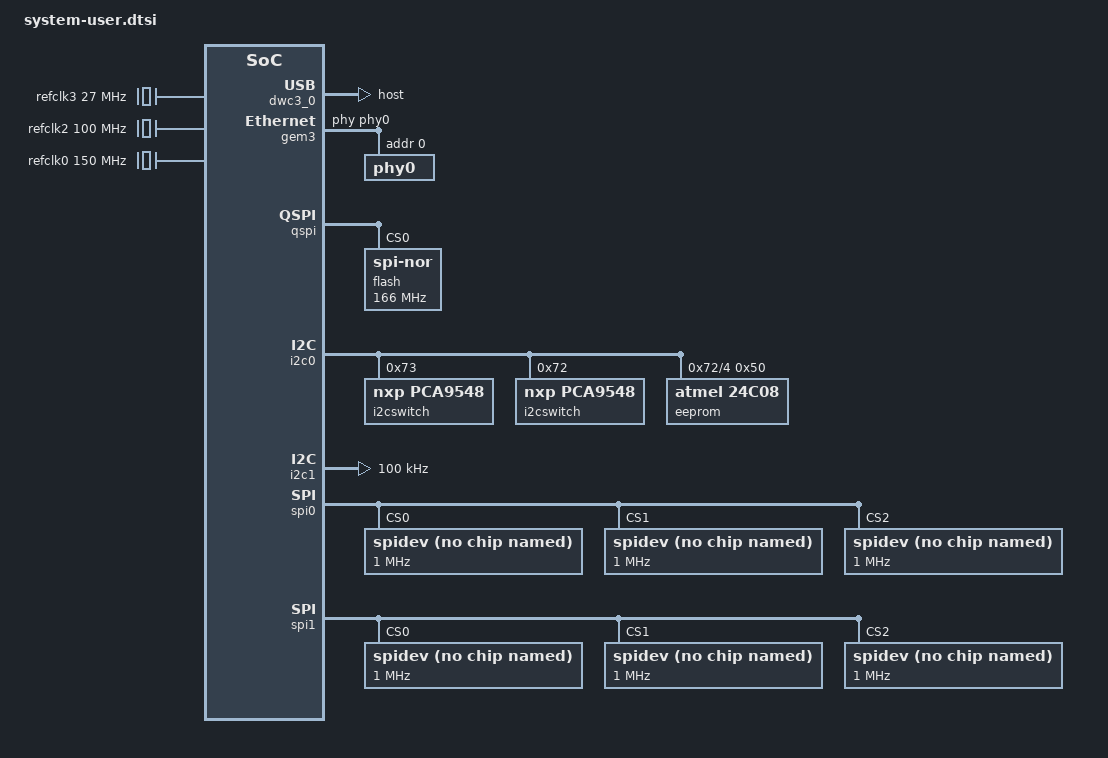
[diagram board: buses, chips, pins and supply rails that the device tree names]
/include/ "system-conf.dtsi"
/include/ "loki-info.dtsi"

/ {
  refclk3:psgtr_dp_clock {
          compatible = "fixed-clock";
          #clock-cells = <0x00>;
          clock-frequency = <27000000>;
  };

  refclk2:psgtr_pcie_usb_clock {
          compatible = "fixed-clock";
          #clock-cells = <0x00>;
          clock-frequency = <100000000>;
  };

  //refclk1:psgtr_unused_clock {
  //        compatible = "fixed-clock";
  //        #clock-cells = <0x00>;
  //        clock-frequency = <100000000>;
  //};

  refclk0:psgtr_sata_clock {
          compatible = "fixed-clock";
          #clock-cells = <0x00>;
          clock-frequency = <150000000>;
  };
};

&psgtr {
  clocks = <&refclk0 &refclk2 &refclk3>;
  /* ref clk instances used per lane */
  clock-names = "ref0\0ref2\0ref3";
};


/* SD */

&sdhci1 {
	// disable-wp;
	no-1-8-v;
    broken-cd;

};


/* USB  */


&dwc3_0 {
    //status = "okay";
    dr_mode = "host";
    //snps,usb3_lpm_capable;
    //snps,dis_u3_susphy_quirk;
    //snps,dis_u2_susphy_quirk;
    //phy-names = "usb2-phy","usb3-phy";
    //phys = <&lane1 4 0 2 100000000>;
    //maximum-speed = "super-speed";
};

/* ETH PHY */

&gem3 {
    /delete-property/ local-mac-address;
    phy-handle = <&phy0>;
    
    nvmem-cells = <&eth0_addr>;
    nvmem-cell-names = "mac-address";
    
    phy0: phy0@1 {
        device_type = "ethernet-phy";
        reg = <0>;
    };
};

/* QSPI */

&qspi {
    num-cs = <2>;

    flash@0 {
        compatible = "jedec,spi-nor";
        reg = <0>, <1>;
        parallel-memories = /bits/ 64  <0x1000000 0x1000000>; /* 2* 16MB --> dummy for all types of this QSPI type */
        spi-rx-bus-width = <4>;
        spi-tx-bus-width = <4>;
        spi-max-frequency = <166000000>; //166MHz max. frequency for mt25qu512

        #address-cells = <1>;
        #size-cells = <1>;
    };
};

/* I2C */

&i2c0 {
    i2cswitch@73 { // u
        compatible = "nxp,pca9548";
        #address-cells = <1>;
        #size-cells = <0>;
        reg = <0x73>;
        i2c-mux-idle-disconnect;
        i2c@0 { // Application support devices
            reg = <0>;
        };
        i2c@1 { // Power monitoring
            reg = <1>;
        };
        i2c@2 { // NC
            reg = <2>;
        };
        i2c@3 { // NC
            reg = <3>;
        };
        i2c@4 {// NC
            reg = <4>;
        };
        i2c@5 { // User / MAC EEPROM
            reg = <5>;
        };
        i2c@6 { // NC
            reg = <6>;
        };
        i2c@7 { // NC
            reg = <7>;
        };
    };
    i2cswitch@72 { // u
        compatible = "nxp,pca9548";
        reg = <0x72>;
        i2c-mux-idle-disconnect;
        i2c@0 { // Application Specific 1
            reg = <0>;
        };
        i2c@1 { // Application Specific 2
            reg = <1>;
        };
        i2c@2 { // Application Management
            reg = <2>;
        };
        i2c@3 { // NC
            reg = <3>;
        };
        i2c@4 { // On-module PLL Loopback
            reg = <4>;
            eeprom: eeprom@50 {
                //compatible = "microchip,24aa025", "atmel,24c02";
                compatible = "atmel,24c08";
                reg = <0x50>;
                
                #address-cells = <1>;
                #size-cells = <1>;
                eth0_addr: eth-mac-addr@FA {
                  reg = <0xFA 0x06>;
                };
           };
        };
        i2c@5 { // Debug Header 1
            reg = <5>;
        };
        i2c@6 { // Debug Header 2
            reg = <6>;
        };
        i2c@7 { // NC
            reg = <7>;
        };
    };
};

/* Additional changes for external interfaces */
/* I2C */
&i2c1 {
	clock-frequency = <100000>;
};

/* SPI (general devices) */
&spi0 {
	spidev@0 {
		compatible = "spidev";
		spi-max-frequency = <1000000>;
		reg = <0>;
	};
	spidev@1 {
		compatible = "spidev";
		spi-max-frequency = <1000000>;
		reg = <1>;
	};
	spidev@2 {
		compatible = "spidev";
		spi-max-frequency = <1000000>;
		reg = <2>;
	};
};

/* SPI1 (ASIC) */
&spi1 {
	spidev@0 {
		compatible = "spidev";
		spi-max-frequency = <1000000>;
		reg = <0>;
	};
	spidev@1 {
		compatible = "spidev";
        spi-max-frequency = <1000000>;
		reg = <1>;
	};
	spidev@2 {
		compatible = "spidev";
		spi-max-frequency = <1000000>;
		reg = <2>;
	};
};

/* GPIO Naming */
&gpio {
    gpio-reserved-ranges = <0 77>;
    gpio-line-names = "MIO0\0MIO1\0MIO2\0MIO3\0MIO4\0MIO5\0MIO6\0MIO7\0MIO8\0MIO9\0MIO10\0MIO11\0MIO12\0MIO13\0MIO14\0MIO15\0MIO16\0MIO17\0MIO18\0MIO19\0MIO20\0MIO21\0MIO22\0MIO23\0MIO24\0MIO25\0MIO26\0MIO27\0MIO28\0MIO29\0MIO30\0MIO31\0MIO32\0MIO33\0MIO34\0MIO35\0MIO36\0MIO37\0MIO38\0MIO39\0MIO40\0MIO41\0MIO42\0MIO43\0MIO44\0MIO45\0MIO46\0MIO47\0MIO48\0MIO49\0MIO50\0MIO51\0MIO52\0MIO53\0MIO54\0MIO55\0MIO56\0MIO57\0MIO58\0MIO59\0MIO60\0MIO61\0MIO62\0MIO63\0MIO64\0MIO65\0MIO66\0MIO67\0MIO68\0MIO69\0MIO70\0MIO71\0MIO72\0MIO73\0MIO74\0MIO75\0MIO76\0MIO77\0APP nPRESENT\0BACKPLANE nPRESENT\0BUTTON0\0BUTTON1\0LTC_INT\0CTRL1\0PERIPHERAL nRST\0APPLICATION nRST\0CLKGEN nRST\0CLKGEN AC0\0CLKGEN AC1\0CLKGEN AC2\0LTC_NRST\0LED0\0LED1\0LED2\0LED3\0EMIO17 LVDS\0EMIO18 LVDS\0EMIO19 LVDS\0EMIO20 LVDS\0EMIO21\0EMIO22\0EMIO23\0EMIO24\0EMIO25\0EMIO26\0EMIO27\0LED Dark\0EMIO29\0EMIO30\0EMIO31\0EMIO32\0EMIO33\0EMIO34\0EMIO35\0EMIO36\0EMIO37\0EMIO38\0EMIO39\0EMIO40\0EMIO41\0EMIO42\0EMIO43\0EMIO44\0EMIO45\0EMIO46\0EMIO47\0EMIO48\0EMIO49\0EMIO50\0EMIO51\0EMIO52\0EMIO53\0EMIO54\0EMIO55\0EMIO56\0EMIO57\0EMIO58\0EMIO59\0EMIO60\0EMIO61\0EMIO62\0EMIO63\0EMIO64\0EMIO65\0EMIO66\0EMIO67\0EMIO68\0EMIO69\0EMIO70\0EMIO71\0EMIO72\0EMIO73\0EMIO74\0EMIO75\0EMIO76\0EMIO77\0EMIO78\0EMIO79\0EMIO80\0EMIO81\0EMIO82\0EMIO83\0EMIO84\0EMIO85\0EMIO86\0EMIO87\0EMIO88\0EMIO89\0EMIO90\0EMIO91\0EMIO92\0EMIO93\0EMIO94\0EMIO95\0";
};
&amba {
    loki-presence-gpios = <&gpio 78 0>,  /* Application Present */
                            <&gpio 79 0>;    /* Backplane Present */
    loki-button-gpios = <&gpio 80 0>,    /* User Button 0 */
                            <&gpio 81 0>;    /* User Button 1 */
    loki-temp-int-gpios = <&gpio 82 0>;
    loki-ctrl1-gpios = <&gpio 83 0>;
    loki-app-per-nrst-gpios = <&gpio 84 0>;
    loki-app-nrst-gpios = <&gpio 85 0>;
    loki-clkgen-nrst-gpios = <&gpio 86 0>;
    loki-clkgen-ac-gpios = <&gpio 87 0>,
                            <&gpio 88 0>,
                            <&gpio 89 0>;
    loki-temp-nrst-gpios = <&gpio 90 0>;
    loki-leds-gpios = <&gpio 91 0>,
                        <&gpio 92 0>,
                        <&gpio 93 0>,
                        <&gpio 94 0>;

};
